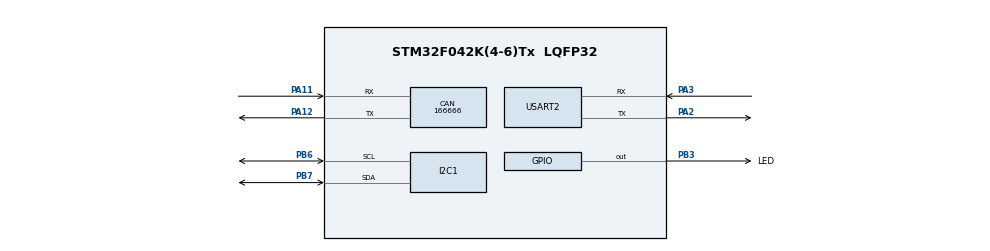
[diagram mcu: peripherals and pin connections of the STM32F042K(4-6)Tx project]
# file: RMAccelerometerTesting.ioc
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CAN.CalculateBaudRate=166666
CAN.CalculateTimeBit=6000
CAN.CalculateTimeQuantum=2000.0
Mcu.Family=STM32F0
Mcu.Name=STM32F042K(4-6)Tx
Mcu.Package=LQFP32
PA11.Mode=CAN_Activate
PA11.Signal=CAN_RX
PA12.Mode=CAN_Activate
PA12.Signal=CAN_TX
PA13.Mode=Serial_Wire
PA13.Signal=SYS_SWDIO
PA14.Mode=Serial_Wire
PA14.Signal=SYS_SWCLK
PA2.Mode=Asynchronous
PA2.Signal=USART2_TX
PA3.Mode=Asynchronous
PA3.Signal=USART2_RX
PB3.GPIO_Label=LED
PB3.Signal=GPIO_Output
PB6.GPIO_FM6=__NULL
PB6.GPIO_Mode=GPIO_MODE_AF_OD
PB6.GPIO_Pu=GPIO_PULLUP
PB6.GPIO_Speed=GPIO_SPEED_FREQ_HIGH
PB6.Mode=I2C
PB6.Signal=I2C1_SCL
PB7.GPIO_FM7=__NULL
PB7.GPIO_Mode=GPIO_MODE_AF_OD
PB7.GPIO_Pu=GPIO_PULLUP
PB7.GPIO_Speed=GPIO_SPEED_FREQ_HIGH
PB7.Mode=I2C
PB7.Signal=I2C1_SDA
PF0-OSC_IN.Mode=HSE-External-Oscillator
PF0-OSC_IN.Signal=RCC_OSC_IN
PF1-OSC_OUT.Mode=HSE-External-Oscillator
PF1-OSC_OUT.Signal=RCC_OSC_OUT
ProjectManager.HeapSize=0x200
ProjectManager.StackSize=0x400
ProjectManager.TargetToolchain=STM32CubeIDE
RCC.EnbaleCSS=true
RCC.SYSCLKSource=RCC_SYSCLKSOURCE_HSE
USART2.VirtualMode-Asynchronous=VM_ASYNC
board=custom

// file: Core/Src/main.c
/* USER CODE BEGIN Header */
/**
  ******************************************************************************
  * @file           : main.c
  * @brief          : Main program body
  ******************************************************************************
  * @attention
  *
  * Copyright (c) 2026 STMicroelectronics.
  * All rights reserved.
  *
  * This software is licensed under terms that can be found in the LICENSE file
  * in the root directory of this software component.
  * If no LICENSE file comes with this software, it is provided AS-IS.
  *
  ******************************************************************************
  */
/* USER CODE END Header */
#include "main.h"
#include "can.h"
#include "i2c.h"
#include "usart.h"
#include "gpio.h"

/* USER CODE BEGIN Includes */

#include <string.h>
#include <stdio.h>
#include "asm330lhh_reg.h"

#include "stm32f0xx_hal.h"
#include "usart.h"
#include "gpio.h"
#include "i2c.h"
/* USER CODE END Includes */

/* USER CODE BEGIN PD */
#define SENSOR_BUS hi2c1
/* USER CODE END PD */

/* USER CODE BEGIN PV */
#define    BOOT_TIME            10 //ms
static int16_t data_raw_acceleration[3];
static int16_t data_raw_angular_rate[3];
static int16_t data_raw_temperature;
static float_t acceleration_mg[3];
static float_t angular_rate_mdps[3];
static float_t temperature_degC;
static uint8_t whoamI, rst;
static uint8_t tx_buffer[1000];
/* USER CODE END PV */

void SystemClock_Config(void);
/* USER CODE BEGIN PFP */
static int32_t platform_write(void *handle, uint8_t reg, const uint8_t *bufp,
                              uint16_t len);
static int32_t platform_read(void *handle, uint8_t reg, uint8_t *bufp,
                             uint16_t len);
static void tx_com( uint8_t *tx_buffer, uint16_t len );
static void platform_delay(uint32_t ms);
/* USER CODE END PFP */

int main(void)
{

  /* MCU Configuration--------------------------------------------------------*/

  /* Reset of all peripherals, Initializes the Flash interface and the Systick. */
  HAL_Init();

  /* Configure the system clock */
  SystemClock_Config();

  /* Initialize all configured peripherals */
  MX_GPIO_Init();
  MX_CAN_Init();
  MX_I2C1_Init();
  MX_USART2_UART_Init();
  /* USER CODE BEGIN 2 */
  GPIO_InitTypeDef GPIO_InitStruct = {0};

  	GPIO_InitStruct.Pin = GPIO_PIN_2|GPIO_PIN_3;
  	GPIO_InitStruct.Mode = GPIO_MODE_AF_PP;//Alternate function push-pull
  	GPIO_InitStruct.Pull = GPIO_NOPULL;
  	GPIO_InitStruct.Speed = GPIO_SPEED_FREQ_LOW;
  	GPIO_InitStruct.Alternate = GPIO_AF1_USART2;
  	HAL_GPIO_Init(GPIOA, &GPIO_InitStruct);

  	CAN_TxHeaderTypeDef TxHeader;
  	uint8_t TxData[8];
  	uint32_t TxMailbox;

  	TxHeader.IDE = CAN_ID_STD;
  	TxHeader.StdId = 0x446;
  	TxHeader.RTR = CAN_RTR_DATA;
  	TxHeader.DLC = 2;

  	TxData[0] = 50;
  	TxData[1] = 0xAA;

  	stmdev_ctx_t dev_ctx;
  	dev_ctx.write_reg = platform_write;
  	dev_ctx.read_reg = platform_read;
  	dev_ctx.mdelay = platform_delay;
  	dev_ctx.handle = &SENSOR_BUS;
  	/* Wait sensor boot time */
  	platform_delay(BOOT_TIME);
  	/* Check device ID */
  	asm330lhh_device_id_get(&dev_ctx, &whoamI);

  	if (whoamI != ASM330LHH_ID)
  	  while (1);

  	  /* Restore default configuration */
  	asm330lhh_reset_set(&dev_ctx, PROPERTY_ENABLE);

  	do {
  	  asm330lhh_reset_get(&dev_ctx, &rst);
  	} while (rst);

  	/* Start device configuration. */
  	asm330lhh_device_conf_set(&dev_ctx, PROPERTY_ENABLE);
  	/* Enable Block Data Update */
  	asm330lhh_block_data_update_set(&dev_ctx, PROPERTY_ENABLE);
  	/* Set Output Data Rate */
  	asm330lhh_xl_data_rate_set(&dev_ctx, ASM330LHH_XL_ODR_12Hz5);
  	asm330lhh_gy_data_rate_set(&dev_ctx, ASM330LHH_GY_ODR_12Hz5);
  	/* Set full scale */
  	asm330lhh_xl_full_scale_set(&dev_ctx, ASM330LHH_2g);
  	asm330lhh_gy_full_scale_set(&dev_ctx, ASM330LHH_2000dps);
  	/* Configure filtering chain(No aux interface)
  	 * Accelerometer - LPF1 + LPF2 path
  	 */
  	asm330lhh_xl_hp_path_on_out_set(&dev_ctx, ASM330LHH_LP_ODR_DIV_100);
  	asm330lhh_xl_filter_lp2_set(&dev_ctx, PROPERTY_ENABLE);

  /* USER CODE END 2 */

  /* Infinite loop */
  /* USER CODE BEGIN WHILE */
  while (1)
  {
	  uint8_t reg;
	  	  /* Read output only if new xl value is available */
	  	  asm330lhh_xl_flag_data_ready_get(&dev_ctx, &reg);

	  	  if (reg) {
	  	    /* Read acceleration field data */
	  	    memset(data_raw_acceleration, 0x00, 3 * sizeof(int16_t));
	  	    asm330lhh_acceleration_raw_get(&dev_ctx, data_raw_acceleration);
	  	    acceleration_mg[0] =
	  	      asm330lhh_from_fs2g_to_mg(data_raw_acceleration[0]);
	  	    acceleration_mg[1] =
	  	      asm330lhh_from_fs2g_to_mg(data_raw_acceleration[1]);
	  	    acceleration_mg[2] =
	  	      asm330lhh_from_fs2g_to_mg(data_raw_acceleration[2]);
	  	    snprintf((char *)tx_buffer, sizeof(tx_buffer),
	  	              "Acceleration [mg]:%i\t%i\t%i\r\n",
	  	              acceleration_mg[0], acceleration_mg[1], acceleration_mg[2]);
	  	      tx_com(tx_buffer, strlen((char const *)tx_buffer));
	  	    }

	  	    asm330lhh_gy_flag_data_ready_get(&dev_ctx, &reg);

	  	    if (reg) {
	  	      /* Read angular rate field data */
	  	      memset(data_raw_angular_rate, 0x00, 3 * sizeof(int16_t));
	  	      asm330lhh_angular_rate_raw_get(&dev_ctx, data_raw_angular_rate);
	  	      angular_rate_mdps[0] =
	  	        asm330lhh_from_fs2000dps_to_mdps(data_raw_angular_rate[0]);
	  	      angular_rate_mdps[1] =
	  	        asm330lhh_from_fs2000dps_to_mdps(data_raw_angular_rate[1]);
	  	      angular_rate_mdps[2] =
	  	        asm330lhh_from_fs2000dps_to_mdps(data_raw_angular_rate[2]);
	  	      snprintf((char *)tx_buffer, sizeof(tx_buffer),
	  	              "Angular rate [mdps]:%i\t%i\t%i\r\n",
	  	              angular_rate_mdps[0], angular_rate_mdps[1], angular_rate_mdps[2]);
	  	      tx_com(tx_buffer, strlen((char const *)tx_buffer));
	  	    }

	  	    //asm330lhh_temp_flag_data_ready_get(&dev_ctx, &reg);

	  	    //if (reg) {
	  	      /* Read temperature data */
	  	      /*memset(&data_raw_temperature, 0x00, sizeof(int16_t));
	  	      asm330lhh_temperature_raw_get(&dev_ctx, &data_raw_temperature);
	  	      temperature_degC = asm330lhh_from_lsb_to_celsius(
	  	                           data_raw_temperature);
	  	      snprintf((char *)tx_buffer, sizeof(tx_buffer),
	  	              "Temperature [degC]:%6.2f\r\n", temperature_degC);
	  	      tx_com(tx_buffer, strlen((char const *)tx_buffer));
	  	    }*/
    /* USER CODE END WHILE */

  }
}

void SystemClock_Config(void)
{
  RCC_OscInitTypeDef RCC_OscInitStruct = {0};
  RCC_ClkInitTypeDef RCC_ClkInitStruct = {0};
  RCC_PeriphCLKInitTypeDef PeriphClkInit = {0};

  /** Initializes the RCC Oscillators according to the specified parameters
  * in the RCC_OscInitTypeDef structure.
  */
  RCC_OscInitStruct.OscillatorType = RCC_OSCILLATORTYPE_HSI|RCC_OSCILLATORTYPE_HSE;
  RCC_OscInitStruct.HSEState = RCC_HSE_ON;
  RCC_OscInitStruct.HSIState = RCC_HSI_ON;
  RCC_OscInitStruct.HSICalibrationValue = RCC_HSICALIBRATION_DEFAULT;
  RCC_OscInitStruct.PLL.PLLState = RCC_PLL_NONE;
  if (HAL_RCC_OscConfig(&RCC_OscInitStruct) != HAL_OK)
  {
    Error_Handler();
  }

  /** Initializes the CPU, AHB and APB buses clocks
  */
  RCC_ClkInitStruct.ClockType = RCC_CLOCKTYPE_HCLK|RCC_CLOCKTYPE_SYSCLK
                              |RCC_CLOCKTYPE_PCLK1;
  RCC_ClkInitStruct.SYSCLKSource = RCC_SYSCLKSOURCE_HSE;
  RCC_ClkInitStruct.AHBCLKDivider = RCC_SYSCLK_DIV1;
  RCC_ClkInitStruct.APB1CLKDivider = RCC_HCLK_DIV1;

  if (HAL_RCC_ClockConfig(&RCC_ClkInitStruct, FLASH_LATENCY_0) != HAL_OK)
  {
    Error_Handler();
  }
  PeriphClkInit.PeriphClockSelection = RCC_PERIPHCLK_I2C1;
  PeriphClkInit.I2c1ClockSelection = RCC_I2C1CLKSOURCE_HSI;
  if (HAL_RCCEx_PeriphCLKConfig(&PeriphClkInit) != HAL_OK)
  {
    Error_Handler();
  }

  /** Enables the Clock Security System
  */
  HAL_RCC_EnableCSS();
}

/* USER CODE BEGIN 4 */
static int32_t platform_write(void *handle, uint8_t reg, const uint8_t *bufp, uint16_t len)
	{
	HAL_I2C_Mem_Write(handle, ASM330LHH_I2C_ADD_L, reg,
            I2C_MEMADD_SIZE_8BIT, (uint8_t*) bufp, len, 1000);
	return 0;
	}

	static int32_t platform_read(void *handle, uint8_t reg, uint8_t *bufp, uint16_t len)
	{
	  HAL_I2C_Mem_Read(handle, ASM330LHH_I2C_ADD_L, reg,
	                   I2C_MEMADD_SIZE_8BIT, bufp, len, 1000);
	  return 0;
	}

	static void tx_com(uint8_t *tx_buffer, uint16_t len)
	{
	 HAL_UART_Transmit(&huart2, tx_buffer, len, 1000);
	}

	static void platform_delay(uint32_t ms)
	{
	  HAL_Delay(ms);
	}
/* USER CODE END 4 */

void Error_Handler(void)
{
  __disable_irq();
  while (1)
  {
  }
}
